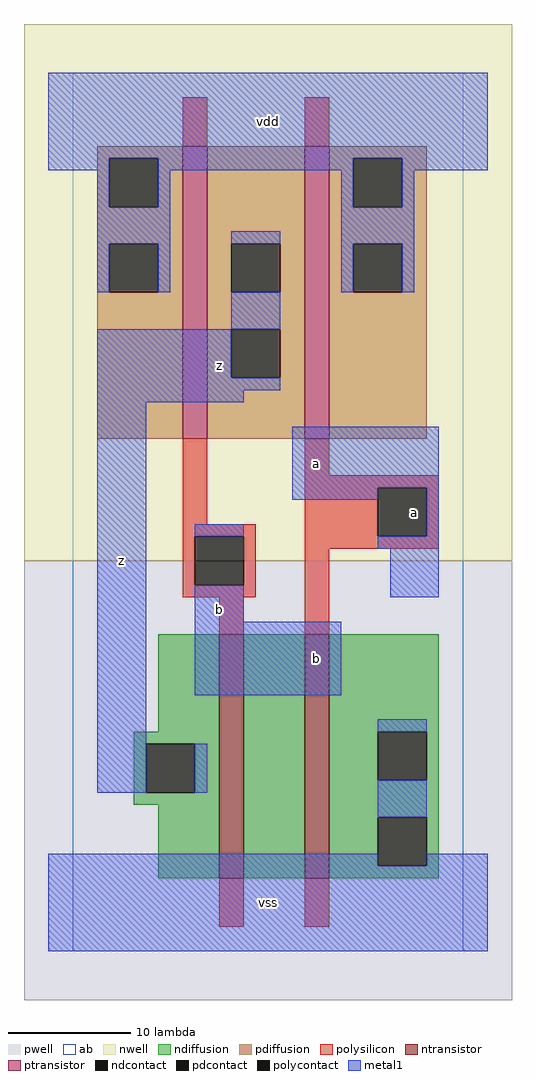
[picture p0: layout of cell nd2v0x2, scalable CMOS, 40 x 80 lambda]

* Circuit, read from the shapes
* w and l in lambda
.subckt nd2v0x2 a b vdd vss z
M1 n1 b z VSUBS nfet w=20 l=2
M2 vss a n1 VSUBS nfet w=20 l=2
M3 z b vdd n2 pfet w=24 l=2
M4 vdd a z n2 pfet w=24 l=2
.ends

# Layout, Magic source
magic
tech scmos
<< ab >>
rect 0 0 32 72
<< pwell >>
rect -4 -4 36 32
<< nwell >>
rect -4 32 36 76
<< polysilicon >>
rect 9 66 11 70
rect 19 66 21 70
rect 9 35 11 42
rect 19 39 21 42
rect 19 38 30 39
rect 9 34 15 35
rect 9 30 10 34
rect 14 30 15 34
rect 9 29 15 30
rect 19 34 25 38
rect 29 34 30 38
rect 19 33 30 34
rect 12 26 14 29
rect 19 26 21 33
rect 12 2 14 6
rect 19 2 21 6
<< ndiffusion >>
rect 7 18 12 26
rect 5 17 12 18
rect 5 13 6 17
rect 10 13 12 17
rect 5 12 12 13
rect 7 6 12 12
rect 14 6 19 26
rect 21 18 30 26
rect 21 14 25 18
rect 29 14 30 18
rect 21 11 30 14
rect 21 7 25 11
rect 29 7 30 11
rect 21 6 30 7
<< pdiffusion >>
rect 2 65 9 66
rect 2 61 3 65
rect 7 61 9 65
rect 2 58 9 61
rect 2 54 3 58
rect 7 54 9 58
rect 2 42 9 54
rect 11 58 19 66
rect 11 54 13 58
rect 17 54 19 58
rect 11 51 19 54
rect 11 47 13 51
rect 17 47 19 51
rect 11 42 19 47
rect 21 65 29 66
rect 21 61 23 65
rect 27 61 29 65
rect 21 58 29 61
rect 21 54 23 58
rect 27 54 29 58
rect 21 42 29 54
<< metal1 >>
rect -2 65 34 72
rect -2 64 3 65
rect 2 61 3 64
rect 7 64 23 65
rect 7 61 8 64
rect 2 58 8 61
rect 22 61 23 64
rect 27 64 34 65
rect 27 61 28 64
rect 2 54 3 58
rect 7 54 8 58
rect 13 58 17 59
rect 22 58 28 61
rect 22 54 23 58
rect 27 54 28 58
rect 13 51 17 54
rect 2 47 13 51
rect 2 46 17 47
rect 2 45 14 46
rect 2 13 6 45
rect 18 38 30 43
rect 18 37 25 38
rect 10 34 14 35
rect 29 34 30 38
rect 25 33 30 34
rect 10 27 14 30
rect 26 29 30 33
rect 10 21 22 27
rect 25 18 29 19
rect 10 13 11 17
rect 25 11 29 14
rect -2 7 25 8
rect 29 7 34 8
rect -2 0 34 7
<< ntransistor >>
rect 12 6 14 26
rect 19 6 21 26
<< ptransistor >>
rect 9 42 11 66
rect 19 42 21 66
<< polycontact >>
rect 10 30 14 34
rect 25 34 29 38
<< ndcontact >>
rect 6 13 10 17
rect 25 14 29 18
rect 25 7 29 11
<< pdcontact >>
rect 3 61 7 65
rect 3 54 7 58
rect 13 54 17 58
rect 13 47 17 51
rect 23 61 27 65
rect 23 54 27 58
<< labels >>
rlabel metal1 4 32 4 32 6 z
rlabel metal1 12 28 12 28 6 b
rlabel metal1 12 48 12 48 6 z
rlabel metal1 16 4 16 4 6 vss
rlabel metal1 20 24 20 24 6 b
rlabel metal1 20 40 20 40 6 a
rlabel metal1 16 68 16 68 6 vdd
rlabel polycontact 28 36 28 36 6 a
<< end >>
